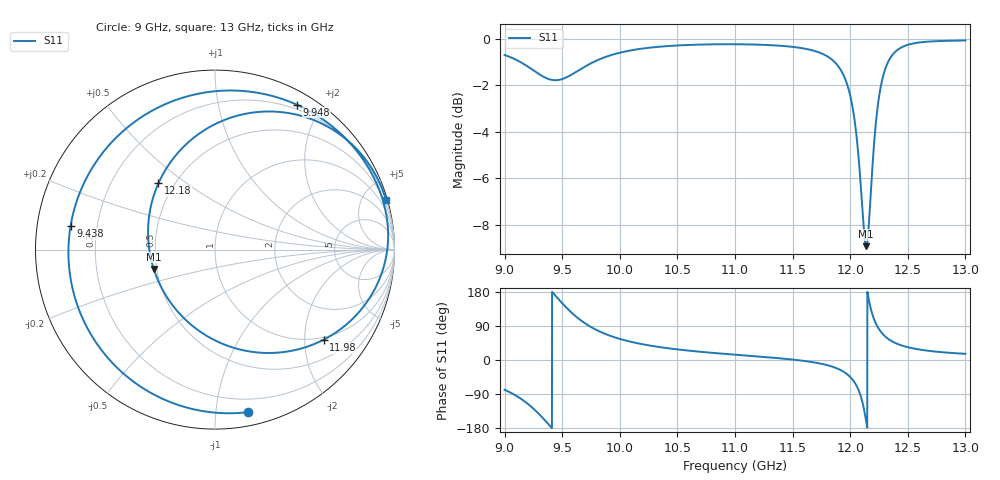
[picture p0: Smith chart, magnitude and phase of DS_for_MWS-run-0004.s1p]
! TOUCHSTONE file generated by CST DESIGN STUDIO
! Date and time: Wed Feb  5 13:44:16 2025
! Project name: C:\Work\MatlabApps\UnitCellOptimizationMatlab\CST\unitcell.cst
! Tree item: Tasks\Sweep1\SPara1\S-Parameters
! Header version: 2024
! Port assignment regex: !\s*Touchstone port\s*([0-9]+)\s*=\s*(CST MWS port|CST DES external port|CST DES block port)\s*(.+)\s* \(\"(.*)\"\)(\s*mode\s*([0-9]+))?.*
! Touchstone port assignment:
! Touchstone port 1 = CST DES external port 1 ("")
# GHz S MA R 50
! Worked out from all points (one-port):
!   4001 points, 9 GHz to 13 GHz, reference 50 ohm
!   lowest |S11| = -8.9 dB at 12.14 GHz (marker M1), VSWR 2.11, Z = 24.1 - j5.95 ohm
!   |S11| at or under -10 dB: nowhere
!   S11 on the Smith chart (normalised r, x): 9 GHz: 0.10, -1.22; 9.438 GHz: 0.10, +0.08; 9.948 GHz: 0.15, +1.70; 11.98 GHz: 0.94, -2.46; 12.18 GHz: 0.41, +0.40; 13 GHz: 0.17, +6.98
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9  0.924 -78.6
9.127  0.8952 -99.4
9.227  0.864 -122.2
9.344  0.8278 -157.0
9.438  0.8154 170.7
9.5  0.8201 149.7
9.588  0.8401 123.1
9.681  0.8676 100.4
9.812  0.9019 77.1
9.948  0.9273 60.5
10  0.9346 55.6
10.215  0.9553 40.5
10.5  0.9687 28.0
11  0.9747 14.0
11.5  0.962 1.2
11.824  0.9101 -15.6
11.914  0.8612 -26.1
11.982  0.7861 -39.7
12  0.7558 -44.8
12.078  0.5366 -83.3
12.108  0.4218 -113.6
12.139  0.3579 -162.5
12.183  0.4853 130.5
12.225  0.6677 95.2
12.272  0.8051 72.4
12.366  0.9241 48.8
12.5  0.9719 33.7
13  0.9931 16.3
